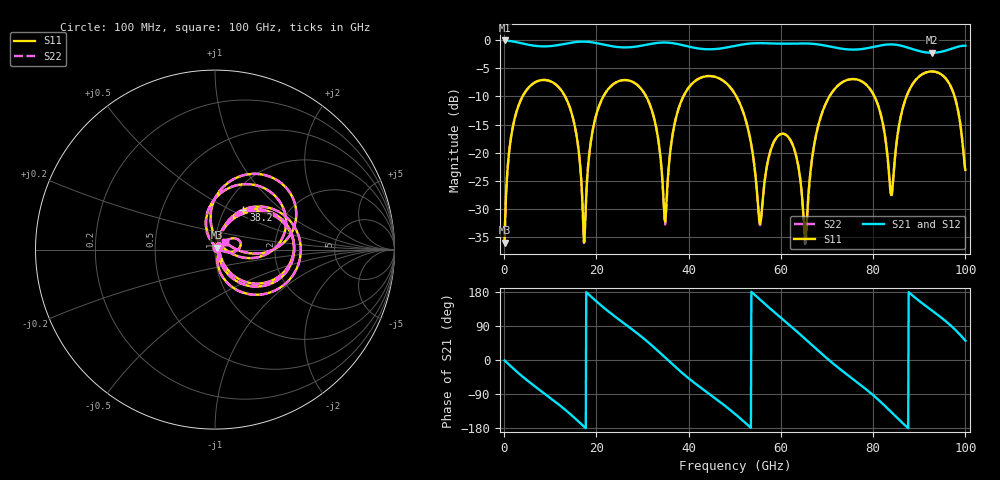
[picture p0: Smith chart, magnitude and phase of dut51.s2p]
! Touchstone file exported from HFSS 2026.1.0
!  File:  C:/ffzhzh/LocalFiles/Ansys_Project_Files/temp_train_TSV_RDL_51_1783621184_29156.aedt
!  Generated:  02:32:49 AM Jul 10, 2026
!  Design:  TSV_RDL
!  Project:  temp_train_TSV_RDL_51_1783621184_29156
! Variables:
!  h_bsmrdl = 4.83um
!  h_ox = 20um
!  h_rdl = 5um
!  h_sub = 79.51um
!  h_tmrdl = 2.06um
!  h_tsv = 79.51um
!  h_via = 3um
!  l_bsmrdl = 663.77um
!  l_sub = 3408.94um
!  l_tmrdl = 211.44um
!  m_sub = 200um
!  pitch = 53.66um
!  r_tsv = 10.2um
!  s_tmrdl = 10um
!  w_bsmrdl = 28.53um
!  w_sub = 500um
!  w_tmrdl = 28.76um
!  x_tsv_center1 = 225.82um
!  x_tsv_center2 = 918.12um
!  x_tsv_center3 = 1158.32um
!  x_tsv_center4 = 1850.62um
!  x_tsv_center5 = 2090.82um
!  x_tsv_center6 = 2783.12um
# GHz S MA R 50.000000
! Terminal data exported
! Port[1] = TM_RDL1_1_T1
! Port[2] = TM_RDL5_1_T1
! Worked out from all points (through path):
!   1000 points, 100 MHz to 100 GHz, reference 50 ohm
!   highest |S21| = -0.11 dB at 100 MHz (marker M1); lowest = -2.3 dB at 92.7 GHz (marker M2)
!   group delay of S21, straight-line fit = 28.4 ps
!   lowest |S11| = -35.9 dB at 100 MHz (marker M3), VSWR 1.03, Z = 51.2 + j1.04 ohm
!   |S11| at or under -10 dB: 13.19 GHz to 21.53 GHz (8.342 GHz wide, 48 % of centre); 30.77 GHz to 38.87 GHz (8.107 GHz wide, 23.3 % of centre); 50.33 GHz to 70.55 GHz (20.22 GHz wide, 33.5 % of centre) (the widest 3 of 6)
!   |S22| runs from -36.6 to -5.6 dB; largest |S21 - S12| = 3.3e-11
!   S11 on the Smith chart (normalised r, x): 100 MHz: 1.02, +0.02; 38.2 GHz: 1.22, +0.59; 100 GHz: 1.11, +0.10
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0.1  0.01597 39.5  0.9878 -1.2  0.9878 -1.2  0.01597 39.5
! Gamma 0 0 0 0
! Port Impedance 50 0 50 0
2.2  0.1946 59.7  0.9626 -24.9  0.9626 -24.9  0.1946 59.7
7.3  0.4315 12.3  0.8803 -75.4  0.8803 -75.4  0.4315 12.3
13.9  0.2738 -47.3  0.9339 -138.1  0.9339 -138.1  0.2739 -47.4
16.8  0.05003 -63.4  0.9643 -169.9  0.9643 -169.9  0.04997 -63.7
23.9  0.4114 23.8  0.8713 115.9  0.8713 115.9  0.4114 23.8
33.4  0.1319 -57.7  0.9414 23.4  0.9414 23.4  0.1318 -58.3
34.9  0.02441 7.6  0.9472 6.5  0.9472 6.5  0.02319 7.5
38.2  0.2729 54.7  0.9072 -30.0  0.9072 -30.0  0.2728 54.8
44.1  0.4776 2.8  0.8253 -86.3  0.8253 -86.3  0.4776 2.8
50.1  0.3282 -49.8  0.8857 -142.8  0.8857 -142.8  0.3282 -50.0
55.5  0.02342 -16.6  0.9354 159.1  0.9354 159.1  0.02286 -16.6
59.3  0.1399 24.1  0.9257 118.8  0.9257 118.8  0.14 23.9
63  0.1043 -6.2  0.9276 80.1  0.9276 80.1  0.1043 -7.2
65.3  0.01714 52.3  0.9296 55.3  0.9296 55.3  0.01486 51.0
66.7  0.08552 115.1  0.9241 39.9  0.9241 39.9  0.08466 116.7
76.1  0.4483 34.9  0.8203 -54.8  0.8203 -54.8  0.448 35.0
80.9  0.2752 -6.6  0.8809 -102.4  0.8809 -102.4  0.2749 -6.6
83.4  0.06893 -5.3  0.9112 -131.0  0.9112 -131.0  0.06807 -6.0
92.7  0.5252 40.5  0.768 131.0  0.768 131.0  0.5251 40.7
97.3  0.3478 1.9  0.8426 85.6  0.8426 85.6  0.3478 2.2
100  0.07027 37.3  0.8876 51.1  0.8876 51.1  0.07114 37.5
